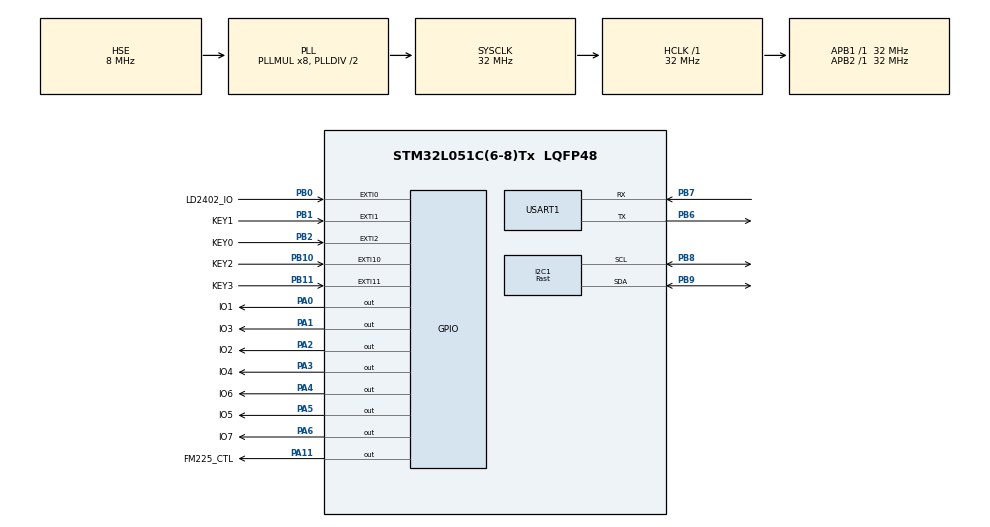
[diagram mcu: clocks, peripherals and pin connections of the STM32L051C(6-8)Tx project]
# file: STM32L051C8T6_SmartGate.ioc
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Dma.Request0=USART1_RX
Dma.Request1=USART1_TX
Dma.USART1_RX.0.Direction=DMA_PERIPH_TO_MEMORY
Dma.USART1_RX.0.Instance=DMA1_Channel3
Dma.USART1_RX.0.MemDataAlignment=DMA_MDATAALIGN_BYTE
Dma.USART1_RX.0.MemInc=DMA_MINC_ENABLE
Dma.USART1_RX.0.Mode=DMA_CIRCULAR
Dma.USART1_RX.0.PeriphDataAlignment=DMA_PDATAALIGN_BYTE
Dma.USART1_RX.0.PeriphInc=DMA_PINC_DISABLE
Dma.USART1_RX.0.Priority=DMA_PRIORITY_LOW
Dma.USART1_TX.1.Direction=DMA_MEMORY_TO_PERIPH
Dma.USART1_TX.1.Instance=DMA1_Channel2
Dma.USART1_TX.1.MemDataAlignment=DMA_MDATAALIGN_BYTE
Dma.USART1_TX.1.MemInc=DMA_MINC_ENABLE
Dma.USART1_TX.1.Mode=DMA_NORMAL
Dma.USART1_TX.1.PeriphDataAlignment=DMA_PDATAALIGN_BYTE
Dma.USART1_TX.1.PeriphInc=DMA_PINC_DISABLE
Dma.USART1_TX.1.Priority=DMA_PRIORITY_LOW
I2C1.I2C_Speed_Mode=I2C_Fast
I2C1.Timing=0x0060112F
Mcu.Family=STM32L0
Mcu.Name=STM32L051C(6-8)Tx
Mcu.Package=LQFP48
NVIC.DMA1_Channel2_3_IRQn=true\:0\:0\:false\:false\:true\:false\:true\:true
NVIC.EXTI0_1_IRQn=true\:0\:0\:false\:false\:true\:true\:true\:true
NVIC.EXTI2_3_IRQn=true\:0\:0\:false\:false\:true\:true\:true\:true
NVIC.EXTI4_15_IRQn=true\:0\:0\:false\:false\:true\:true\:true\:true
NVIC.TIM2_IRQn=true\:0\:0\:false\:false\:true\:true\:true\:true
NVIC.TIM6_DAC_IRQn=true\:0\:0\:true\:false\:true\:true\:true\:true
NVIC.USART1_IRQn=true\:0\:0\:false\:false\:true\:true\:true\:true
PA0.GPIO_Label=IO1
PA0.GPIO_ModeDefaultOutputPP=GPIO_MODE_OUTPUT_PP
PA0.GPIO_PuPd=GPIO_NOPULL
PA0.GPIO_Speed=GPIO_SPEED_FREQ_VERY_HIGH
PA0.PinState=GPIO_PIN_SET
PA0.Signal=GPIO_Output
PA1.GPIO_Label=IO3
PA1.GPIO_PuPd=GPIO_NOPULL
PA1.PinState=GPIO_PIN_SET
PA1.Signal=GPIO_Output
PA11.GPIO_Label=FM225_CTL
PA11.GPIO_PuPd=GPIO_PULLDOWN
PA11.PinState=GPIO_PIN_RESET
PA11.Signal=GPIO_Output
PA13.Mode=Serial_Wire
PA13.Signal=SYS_SWDIO
PA14.Mode=Serial_Wire
PA14.Signal=SYS_SWCLK
PA2.GPIO_Label=IO2
PA2.GPIO_PuPd=GPIO_NOPULL
PA2.PinState=GPIO_PIN_SET
PA2.Signal=GPIO_Output
PA3.GPIO_Label=IO4
PA3.GPIO_PuPd=GPIO_NOPULL
PA3.PinState=GPIO_PIN_SET
PA3.Signal=GPIO_Output
PA4.GPIO_Label=IO6
PA4.GPIO_ModeDefaultOutputPP=GPIO_MODE_OUTPUT_PP
PA4.GPIO_PuPd=GPIO_NOPULL
PA4.PinState=GPIO_PIN_SET
PA4.Signal=GPIO_Output
PA5.GPIO_Label=IO5
PA5.GPIO_PuPd=GPIO_NOPULL
PA5.PinState=GPIO_PIN_SET
PA5.Signal=GPIO_Output
PA6.GPIO_Label=IO7
PA6.GPIO_PuPd=GPIO_NOPULL
PA6.PinState=GPIO_PIN_SET
PA6.Signal=GPIO_Output
PB0.GPIO_Label=LD2402_IO
PB0.GPIO_ModeDefaultEXTI=GPIO_MODE_IT_FALLING
PB0.GPIO_PuPd=GPIO_PULLDOWN
PB0.Signal=GPXTI0
PB1.GPIO_Label=KEY1
PB1.GPIO_ModeDefaultEXTI=GPIO_MODE_IT_FALLING
PB1.GPIO_PuPd=GPIO_PULLUP
PB1.Signal=GPXTI1
PB10.GPIO_Label=KEY2
PB10.GPIO_ModeDefaultEXTI=GPIO_MODE_IT_FALLING
PB10.GPIO_PuPd=GPIO_PULLUP
PB10.Signal=GPXTI10
PB11.GPIO_Label=KEY3
PB11.GPIO_ModeDefaultEXTI=GPIO_MODE_IT_FALLING
PB11.GPIO_PuPd=GPIO_PULLUP
PB11.Signal=GPXTI11
PB2.GPIO_Label=KEY0
PB2.GPIO_ModeDefaultEXTI=GPIO_MODE_IT_FALLING
PB2.GPIO_PuPd=GPIO_PULLUP
PB2.Signal=GPXTI2
PB6.GPIO_PuPd=GPIO_PULLUP
PB6.Mode=Asynchronous
PB6.Signal=USART1_TX
PB7.GPIO_PuPd=GPIO_PULLUP
PB7.Mode=Asynchronous
PB7.Signal=USART1_RX
PB8.Mode=I2C
PB8.Signal=I2C1_SCL
PB9.Mode=I2C
PB9.Signal=I2C1_SDA
PC14-OSC32_IN.Mode=LSE-External-Oscillator
PC14-OSC32_IN.Signal=RCC_OSC32_IN
PC15-OSC32_OUT.Mode=LSE-External-Oscillator
PC15-OSC32_OUT.Signal=RCC_OSC32_OUT
PH0-OSC_IN.Mode=HSE-External-Oscillator
PH0-OSC_IN.Signal=RCC_OSC_IN
PH1-OSC_OUT.Mode=HSE-External-Oscillator
PH1-OSC_OUT.Signal=RCC_OSC_OUT
ProjectManager.HeapSize=0x200
ProjectManager.StackSize=0x400
ProjectManager.TargetToolchain=MDK-ARM V5.32
RCC.AHBFreq_Value=32000000
RCC.APB1Freq_Value=32000000
RCC.APB1TimFreq_Value=32000000
RCC.APB2Freq_Value=32000000
RCC.APB2TimFreq_Value=32000000
RCC.HCLKFreq_Value=32000000
RCC.HSE_VALUE=8000000
RCC.HSI16_VALUE=16000000
RCC.HSI_VALUE=16000000
RCC.MSI_VALUE=2097000
RCC.PLLMUL=RCC_PLLMUL_8
RCC.PLLSourceVirtual=RCC_PLLSOURCE_HSE
RCC.SYSCLKFreq_VALUE=32000000
RCC.SYSCLKSource=RCC_SYSCLKSOURCE_PLLCLK
RCC.VCOOutputFreq_Value=64000000
TIM2.AutoReloadPreload=TIM_AUTORELOAD_PRELOAD_DISABLE
TIM2.Period=30-1
TIM2.Prescaler=32000-1
TIM6.Period=50-1
TIM6.Prescaler=32000-1
USART1.VirtualMode-Asynchronous=VM_ASYNC
VP_TIM2_VS_ClockSourceINT.Mode=Internal
VP_TIM6_VS_ClockSourceINT.Mode=Enable_Timer
board=custom

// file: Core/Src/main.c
/* USER CODE BEGIN Header */
/**
  ******************************************************************************
  * @file           : main.c
  * @brief          : Main program body
  ******************************************************************************
  * @attention
  *
  * Copyright (c) 2025 STMicroelectronics.
  * All rights reserved.
  *
  * This software is licensed under terms that can be found in the LICENSE file
  * in the root directory of this software component.
  * If no LICENSE file comes with this software, it is provided AS-IS.
  *
  ******************************************************************************
  */
/* USER CODE END Header */
#include "main.h"
#include "dma.h"
#include "i2c.h"
#include "tim.h"
#include "usart.h"
#include "gpio.h"

/* USER CODE BEGIN Includes */
#include "oled.h"
#include <string.h>
/* USER CODE END Includes */

/* USER CODE BEGIN PD */

#define RX_BUFF_SIZE 128
#define TX_BUFF_SIZE 64

/* USER CODE END PD */

/* USER CODE BEGIN PV */

__IO uint8_t KEY0_PRESSED = 0;
__IO uint8_t KEY1_PRESSED = 0;
__IO uint8_t KEY2_PRESSED = 0;
__IO uint8_t KEY3_PRESSED = 0;
uint8_t ENROLL_ID = 1;
uint8_t DELETE_ID = 1;

uint8_t TX_BUFFER[TX_BUFF_SIZE] = { 0 };
__IO uint8_t RX_BUFFER[RX_BUFF_SIZE] = { 0 };

int menu_main();
int menu_enroll();
int menu_verify();
int menu_delete();
int (*menu)() = &menu_main;

/* USER CODE END PV */

void SystemClock_Config(void);

int main(void)
{

  /* MCU Configuration--------------------------------------------------------*/

  /* Reset of all peripherals, Initializes the Flash interface and the Systick. */
  HAL_Init();

  /* Configure the system clock */
  SystemClock_Config();

  /* Initialize all configured peripherals */
  MX_GPIO_Init();
  MX_DMA_Init();
  MX_I2C1_Init();
  MX_TIM2_Init();
  MX_USART1_UART_Init();
  MX_TIM6_Init();
  /* USER CODE BEGIN 2 */
	__HAL_UART_ENABLE_IT(&huart1, UART_IT_IDLE);  // 使能串口IDLE中断
	HAL_UARTEx_ReceiveToIdle_DMA(&huart1, (uint8_t *)RX_BUFFER, RX_BUFF_SIZE);
	HAL_TIM_Base_Start_IT(&htim2);
	HAL_TIM_Base_Start_IT(&htim6);
	OLED_Init();                           		 //OLED初始
	OLED_Clear();                        			 //清屏

  /* USER CODE END 2 */

  /* Infinite loop */
  /* USER CODE BEGIN WHILE */

  while (1)
  {
			if (KEY1_PRESSED == 1)
			{
					menu = menu_main;
			}
			if (KEY3_PRESSED == 1)
			{
					menu = menu_enroll;
			}
			if (KEY2_PRESSED == 1)
			{
					menu = menu_verify;
			}
			if (KEY0_PRESSED == 1)
			{
					menu = menu_delete;
			}
			if (menu != NULL)
			{
					KEY0_PRESSED = 0;
					KEY1_PRESSED = 0;
					KEY2_PRESSED = 0;
					KEY3_PRESSED = 0;
					menu();
			}
    /* USER CODE END WHILE */

  }
}

void SystemClock_Config(void)
{
  RCC_OscInitTypeDef RCC_OscInitStruct = {0};
  RCC_ClkInitTypeDef RCC_ClkInitStruct = {0};
  RCC_PeriphCLKInitTypeDef PeriphClkInit = {0};

  /** Configure the main internal regulator output voltage
  */
  __HAL_PWR_VOLTAGESCALING_CONFIG(PWR_REGULATOR_VOLTAGE_SCALE1);

  /** Initializes the RCC Oscillators according to the specified parameters
  * in the RCC_OscInitTypeDef structure.
  */
  RCC_OscInitStruct.OscillatorType = RCC_OSCILLATORTYPE_HSE;
  RCC_OscInitStruct.HSEState = RCC_HSE_ON;
  RCC_OscInitStruct.PLL.PLLState = RCC_PLL_ON;
  RCC_OscInitStruct.PLL.PLLSource = RCC_PLLSOURCE_HSE;
  RCC_OscInitStruct.PLL.PLLMUL = RCC_PLLMUL_8;
  RCC_OscInitStruct.PLL.PLLDIV = RCC_PLLDIV_2;
  if (HAL_RCC_OscConfig(&RCC_OscInitStruct) != HAL_OK)
  {
    Error_Handler();
  }

  /** Initializes the CPU, AHB and APB buses clocks
  */
  RCC_ClkInitStruct.ClockType = RCC_CLOCKTYPE_HCLK|RCC_CLOCKTYPE_SYSCLK
                              |RCC_CLOCKTYPE_PCLK1|RCC_CLOCKTYPE_PCLK2;
  RCC_ClkInitStruct.SYSCLKSource = RCC_SYSCLKSOURCE_PLLCLK;
  RCC_ClkInitStruct.AHBCLKDivider = RCC_SYSCLK_DIV1;
  RCC_ClkInitStruct.APB1CLKDivider = RCC_HCLK_DIV1;
  RCC_ClkInitStruct.APB2CLKDivider = RCC_HCLK_DIV1;

  if (HAL_RCC_ClockConfig(&RCC_ClkInitStruct, FLASH_LATENCY_1) != HAL_OK)
  {
    Error_Handler();
  }
  PeriphClkInit.PeriphClockSelection = RCC_PERIPHCLK_USART1|RCC_PERIPHCLK_I2C1;
  PeriphClkInit.Usart1ClockSelection = RCC_USART1CLKSOURCE_PCLK2;
  PeriphClkInit.I2c1ClockSelection = RCC_I2C1CLKSOURCE_PCLK1;
  if (HAL_RCCEx_PeriphCLKConfig(&PeriphClkInit) != HAL_OK)
  {
    Error_Handler();
  }
}

/* USER CODE BEGIN 4 */
// 计算 BCC 异或校验码的函数
uint8_t calculateBCC(uint8_t *data, int length)
{
    uint8_t bcc = 0;
    for (int i = 0; i < length; i++)
    {
        // 对每个字节进行异或操作
        bcc ^= data[i];
    }
    return bcc;
}

int menu_main()
{
    menu = NULL;
    OLED_Clear();
    OLED_ShowCHinese(24, 0, 8, 0);
    OLED_ShowCHinese(40, 0, 9, 0);
    OLED_ShowCHinese(56, 0, 10, 0);
    OLED_ShowCHinese(72, 0, 11, 0);
    OLED_ShowCHinese(88, 0, 12, 0);

    OLED_ShowCHinese(32, 2, 0, 0);
    OLED_ShowCHinese(48, 2, 1, 0);
    OLED_ShowCHinese(64, 2, 6, 0);
    OLED_ShowCHinese(80, 2, 7, 0);

    OLED_ShowCHinese(32, 4, 4, 0);
    OLED_ShowCHinese(48, 4, 5, 0);
    OLED_ShowCHinese(64, 4, 6, 0);
    OLED_ShowCHinese(80, 4, 7, 0);

    OLED_ShowCHinese(32, 6, 2, 0);
    OLED_ShowCHinese(48, 6, 3, 0);
    OLED_ShowCHinese(64, 6, 6, 0);
    OLED_ShowCHinese(80, 6, 7, 0);
    return 0;
}

int menu_enroll()
{
    OLED_Clear();
    OLED_ShowCHinese(0, 0, 13, 0);
    OLED_ShowCHinese(16, 0, 14, 0);
    OLED_ShowCHinese(32, 0, 15, 0);
    OLED_ShowCHinese(48, 0, 16, 0);

    OLED_ShowCHinese(64, 0, 0, 0);
    OLED_ShowCHinese(80, 0, 1, 0);
    OLED_ShowCHinese(96, 0, 6, 0);
    OLED_ShowCHinese(112, 0, 7, 0);

    OLED_ShowCHinese(32, 2, 17, 0);
    OLED_ShowCHinese(48, 2, 18, 0);
    OLED_ShowCHinese(64, 2, 19, 0);
    OLED_ShowNum(80, 2, ENROLL_ID, 2, 16, 0);
    HAL_GPIO_WritePin(FM225_CTL_GPIO_Port, FM225_CTL_Pin, GPIO_PIN_SET);

    while (1)
    {
        if (KEY3_PRESSED == 1)
        {
            KEY3_PRESSED = 0;

            OLED_Clear();
            OLED_ShowCHinese(40, 0, 0, 0);
            OLED_ShowCHinese(56, 0, 1, 0);
            OLED_ShowCHinese(72, 0, 24, 0);

            OLED_ShowCHinese(24, 2, 8, 0);
            OLED_ShowCHinese(40, 2, 20, 0);
            OLED_ShowCHinese(56, 2, 21, 0);
            OLED_ShowCHinese(72, 2, 22, 0);
            OLED_ShowCHinese(88, 2, 23, 0);

            uint8_t values[] = { 0xef, 0xaa, 0x1d, 0x00, 0x23, 0x00, 0x00, 0x00,
                    0x00, 0x00, 0x00, 0x00, 0x00, 0x00, 0x00, 0x00, 0x00, 0x00,
                    0x00, 0x00, 0x00, 0x00, 0x00, 0x00, 0x00, 0x00, 0x00, 0x00,
                    0x00, 0x00, 0x00, 0x00, 0x00, 0x00, 0x00, 0x00, 0x00, 0x00,
                    0x00, 0x00, 0x3e };

            // 赋值操作
            for (int i = 0; i < 41; i++)
            {
                TX_BUFFER[i] = values[i];
            }

            TX_BUFFER[6] = ENROLL_ID;

            // 调用函数计算 BCC 校验码
            TX_BUFFER[40] = calculateBCC(&TX_BUFFER[2], 38);
            HAL_UART_Transmit_DMA(&huart1, (uint8_t *)TX_BUFFER, 41);
            HAL_UARTEx_ReceiveToIdle_DMA(&huart1, (uint8_t *)RX_BUFFER, RX_BUFF_SIZE);
            while (1)
            {
                if ((RX_BUFFER[2] == 0X00) && (RX_BUFFER[5] == 0X1D)&& (RX_BUFFER[6] == 0X0A))
                {
                    // 播放人脸已录入语音
										HAL_GPIO_WritePin(IO3_GPIO_Port, IO3_Pin, GPIO_PIN_RESET);
										__HAL_TIM_SET_COUNTER(&htim6, 0);
										HAL_TIM_Base_Start_IT(&htim6);

										// 关闭FM225的电源
										HAL_GPIO_WritePin(FM225_CTL_GPIO_Port, FM225_CTL_Pin, GPIO_PIN_RESET);
                    OLED_Clear();
										OLED_ShowCHinese(24, 0, 6, 0); // OLED显示’人‘
                    OLED_ShowCHinese(40, 0, 7, 0);	// OLED显示’脸‘
                    OLED_ShowCHinese(56, 0, 29, 0);	// OLED显示’已‘
                    OLED_ShowCHinese(72, 0, 30, 0);	// OLED显示’录‘
                    OLED_ShowCHinese(88, 0, 31, 0);// OLED显示’入‘

                    while (1)
                    {
                        if (KEY3_PRESSED == 1)
                        {
                            KEY3_PRESSED = 0;
                        }
                        if (KEY2_PRESSED == 1)
                        {
                            KEY2_PRESSED = 0;
                        }

                        if (KEY0_PRESSED == 1)
                        {
                            KEY0_PRESSED = 0;
                        }
                        if (KEY1_PRESSED == 1)
                        {
                            KEY1_PRESSED = 0;
														HAL_GPIO_WritePin(FM225_CTL_GPIO_Port, FM225_CTL_Pin, GPIO_PIN_RESET);
														menu = menu_main;
														return 0;
                        }
                    }
                }
                else if ((RX_BUFFER[2] == 0X00) && (RX_BUFFER[5] == 0X1D) && (RX_BUFFER[6] == 0X00) && (RX_BUFFER[8] != 0X00))
                {
										// 播放录入成功语音
										HAL_GPIO_WritePin(IO1_GPIO_Port, IO1_Pin, GPIO_PIN_RESET);
										__HAL_TIM_SET_COUNTER(&htim6, 0);
										HAL_TIM_Base_Start_IT(&htim6);

										// 关闭FM225的电源
										HAL_GPIO_WritePin(FM225_CTL_GPIO_Port, FM225_CTL_Pin, GPIO_PIN_RESET);
										OLED_Clear();
                    OLED_ShowCHinese(32, 0, 30, 0);
                    OLED_ShowCHinese(48, 0, 31, 0);
                    OLED_ShowCHinese(64, 0, 25, 0);
                    OLED_ShowCHinese(80, 0, 26, 0);

                    while (1)
                    {
                        if (KEY3_PRESSED == 1)
                        {
                            KEY3_PRESSED = 0;
                        }
                        if (KEY2_PRESSED == 1)
                        {
                            KEY2_PRESSED = 0;
                        }

                        if (KEY0_PRESSED == 1)
                        {
                            KEY0_PRESSED = 0;
                        }
                        if (KEY1_PRESSED == 1)
                        {
                            KEY1_PRESSED = 0;
														HAL_GPIO_WritePin(FM225_CTL_GPIO_Port, FM225_CTL_Pin, GPIO_PIN_RESET);
														menu = menu_main;
                            return 0;
                        }
                    }
                }
                else if ((RX_BUFFER[2] == 0X00) && (RX_BUFFER[5] == 0X1D)&& (RX_BUFFER[6] == 0X0D))
                {
                    // 播放录入失败语音
										HAL_GPIO_WritePin(IO2_GPIO_Port, IO2_Pin, GPIO_PIN_RESET);
										__HAL_TIM_SET_COUNTER(&htim6, 0);
										HAL_TIM_Base_Start_IT(&htim6);

										// 关闭FM225的电源
										HAL_GPIO_WritePin(FM225_CTL_GPIO_Port, FM225_CTL_Pin, GPIO_PIN_RESET);
                    OLED_Clear();
                    OLED_ShowCHinese(32, 0, 30, 0);
                    OLED_ShowCHinese(48, 0, 31, 0);
                    OLED_ShowCHinese(64, 0, 27, 0);
                    OLED_ShowCHinese(80, 0, 28, 0);

                    while (1)
                    {
                        if (KEY3_PRESSED == 1)
                        {
                            KEY3_PRESSED = 0;
                        }
                        if (KEY2_PRESSED == 1)
                        {
                            KEY2_PRESSED = 0;
                        }

                        if (KEY0_PRESSED == 1)
                        {
                            KEY0_PRESSED = 0;
                        }
                        if (KEY1_PRESSED == 1)
                        {
                            KEY1_PRESSED = 0;
														HAL_GPIO_WritePin(FM225_CTL_GPIO_Port, FM225_CTL_Pin, GPIO_PIN_RESET);
														menu = menu_main;
                            return 0;
                        }
                    }
                }
                if (KEY2_PRESSED == 1)
                {
                    KEY2_PRESSED = 0;
                }
                if (KEY3_PRESSED == 1)
                {
                    KEY3_PRESSED = 0;
                }
                if (KEY0_PRESSED == 1)
                {
                    KEY0_PRESSED = 0;
                }
                if (KEY1_PRESSED == 1)
                {
										KEY1_PRESSED = 0;
										HAL_GPIO_WritePin(FM225_CTL_GPIO_Port, FM225_CTL_Pin, GPIO_PIN_RESET);
										menu = menu_main;
										return 0;
                }
            }
        }
        if (KEY2_PRESSED == 1)
        {
            KEY2_PRESSED = 0;
            if (ENROLL_ID < 99)
            {
                ENROLL_ID++;
                OLED_ShowNum(80, 2, ENROLL_ID, 2, 16, 0);
            }

        }
        if (KEY0_PRESSED == 1)
        {
            KEY0_PRESSED = 0;
            if (ENROLL_ID > 1)
            {
                ENROLL_ID--;
                OLED_ShowNum(80, 2, ENROLL_ID, 2, 16, 0);
            }
        }
        if (KEY1_PRESSED == 1)
        {

            KEY1_PRESSED = 0;
						HAL_GPIO_WritePin(FM225_CTL_GPIO_Port, FM225_CTL_Pin, GPIO_PIN_RESET);
            menu = menu_main;
            return 0;
        }
    }

}
int menu_verify()
{
    while (1)
    {
        HAL_GPIO_WritePin(FM225_CTL_GPIO_Port, FM225_CTL_Pin, GPIO_PIN_SET);
        OLED_Clear();
        OLED_ShowCHinese(24, 0, 8, 0);
        OLED_ShowCHinese(40, 0, 20, 0);
        OLED_ShowCHinese(56, 0, 21, 0);
        OLED_ShowCHinese(72, 0, 22, 0);
        OLED_ShowCHinese(88, 0, 23, 0);
				HAL_Delay(10);
        // 赋值操作
        TX_BUFFER[0] = 0XEF;
        TX_BUFFER[1] = 0XAA;
        TX_BUFFER[2] = 0X12;
        TX_BUFFER[3] = 0X00;
        TX_BUFFER[4] = 0X02;
        TX_BUFFER[5] = 0X01;
        TX_BUFFER[6] = 0X10;
        TX_BUFFER[7] = 0X01;
        HAL_UART_Transmit_DMA(&huart1, TX_BUFFER, 8);
        HAL_UARTEx_ReceiveToIdle_DMA(&huart1, (uint8_t *)RX_BUFFER, RX_BUFF_SIZE);
        while (1)
        {
            if (RX_BUFFER[2] == 0X00 && RX_BUFFER[5] == 0X12 && RX_BUFFER[6] == 0X00 && RX_BUFFER[8] != 0X00)
            {
								// 播放验证成功语音
								HAL_GPIO_WritePin(IO5_GPIO_Port, IO5_Pin, GPIO_PIN_RESET);
								__HAL_TIM_SET_COUNTER(&htim6, 0);
								HAL_TIM_Base_Start_IT(&htim6);

								uint8_t id = RX_BUFFER[8];
								OLED_ShowNum(72, 2, RX_BUFFER[8], 2, 16, 0);
                HAL_GPIO_WritePin(IO6_GPIO_Port, IO6_Pin, GPIO_PIN_RESET);
								HAL_GPIO_WritePin(FM225_CTL_GPIO_Port, FM225_CTL_Pin, GPIO_PIN_RESET);
                OLED_Clear();
                OLED_ShowCHinese(32, 0, 4, 0);
                OLED_ShowCHinese(48, 0, 5, 0);
                OLED_ShowCHinese(64, 0, 25, 0);
                OLED_ShowCHinese(80, 0, 26, 0);

                OLED_ShowCHinese(24, 2, 39, 0);
                OLED_ShowCHinese(40, 2, 40, 0);
                OLED_ShowCHinese(56, 2, 41, 0);
                OLED_ShowNum(72, 2, id, 2, 16, 0);
                OLED_ShowCHinese(88, 2, 42, 0);

            }
            if (RX_BUFFER[2] == 0X00 && RX_BUFFER[5] == 0X12 && RX_BUFFER[6] == 0X0D)
            {
								// 播放验证失败语音
								HAL_GPIO_WritePin(IO6_GPIO_Port, IO6_Pin, GPIO_PIN_RESET);
								__HAL_TIM_SET_COUNTER(&htim6, 0);
								HAL_TIM_Base_Start_IT(&htim6);

                HAL_GPIO_WritePin(IO7_GPIO_Port, IO7_Pin, GPIO_PIN_RESET);
								HAL_GPIO_WritePin(FM225_CTL_GPIO_Port, FM225_CTL_Pin, GPIO_PIN_RESET);
                OLED_Clear();
                OLED_ShowCHinese(32, 0, 4, 0);
                OLED_ShowCHinese(48, 0, 5, 0);
                OLED_ShowCHinese(64, 0, 27, 0);
                OLED_ShowCHinese(80, 0, 28, 0);

            }
            if (KEY2_PRESSED == 1)
            {
                KEY2_PRESSED = 0;
            }

            if (KEY0_PRESSED == 1)
            {
                KEY0_PRESSED = 0;
            }
            if (KEY3_PRESSED == 1)
            {
                KEY3_PRESSED = 0;
            }
            if (KEY1_PRESSED == 1)
            {
								KEY1_PRESSED = 0;
								HAL_GPIO_WritePin(FM225_CTL_GPIO_Port, FM225_CTL_Pin, GPIO_PIN_RESET);
								menu = menu_main;
								return 0;
            }
        }
    }
}
int menu_delete()
{

    OLED_Clear();
    OLED_ShowCHinese(0, 0, 13, 0);
    OLED_ShowCHinese(16, 0, 14, 0);
    OLED_ShowCHinese(32, 0, 15, 0);
    OLED_ShowCHinese(48, 0, 16, 0);

    OLED_ShowCHinese(64, 0, 2, 0);
    OLED_ShowCHinese(80, 0, 3, 0);
    OLED_ShowCHinese(96, 0, 6, 0);
    OLED_ShowCHinese(112, 0, 7, 0);

    OLED_ShowCHinese(24, 2, 39, 0);
    OLED_ShowCHinese(40, 2, 40, 0);
    OLED_ShowCHinese(56, 2, 41, 0);
    OLED_ShowNum(72, 2, DELETE_ID, 2, 16, 0);
    OLED_ShowCHinese(88, 2, 42, 0);
    HAL_GPIO_WritePin(FM225_CTL_GPIO_Port, FM225_CTL_Pin, GPIO_PIN_SET);

    while (1)
    {
        if (KEY0_PRESSED == 1)
        {
            KEY0_PRESSED = 0;
						// 播放删除成功语音
						HAL_GPIO_WritePin(IO7_GPIO_Port, IO7_Pin, GPIO_PIN_RESET);
						__HAL_TIM_SET_COUNTER(&htim6, 0);
						HAL_TIM_Base_Start_IT(&htim6);

            if (DELETE_ID == 0)
            {
                OLED_Clear();
                OLED_ShowCHinese(16, 0, 37, 0);
                OLED_ShowCHinese(32, 0, 38, 0);
                OLED_ShowCHinese(48, 0, 2, 0);
                OLED_ShowCHinese(64, 0, 3, 0);
                OLED_ShowCHinese(80, 0, 25, 0);
                OLED_ShowCHinese(96, 0, 26, 0);

                TX_BUFFER[0] = 0XEF;
                TX_BUFFER[1] = 0XAA;
                TX_BUFFER[2] = 0X21;
                TX_BUFFER[3] = 0X00;
                TX_BUFFER[4] = 0X00;
                TX_BUFFER[5] = 0X21;

                HAL_UART_Transmit_DMA(&huart1, TX_BUFFER, 6);
                HAL_UARTEx_ReceiveToIdle_DMA(&huart1, (uint8_t *)RX_BUFFER,RX_BUFF_SIZE); // 继续接收数据

            } else
            {
                OLED_Clear();
                OLED_ShowCHinese(32, 0, 2, 0);
                OLED_ShowCHinese(48, 0, 3, 0);
                OLED_ShowCHinese(64, 0, 25, 0);
                OLED_ShowCHinese(80, 0, 26, 0);

                TX_BUFFER[0] = 0XEF;
                TX_BUFFER[1] = 0XAA;
                TX_BUFFER[2] = 0X20;
                TX_BUFFER[3] = 0X00;
                TX_BUFFER[4] = 0X02;
                TX_BUFFER[5] = 0X00;
                TX_BUFFER[6] = DELETE_ID;

                // 调用函数计算 BCC 校验码
                TX_BUFFER[7] = calculateBCC(&TX_BUFFER[2], 5);
                HAL_UART_Transmit_DMA(&huart1, TX_BUFFER, 8);
                HAL_UARTEx_ReceiveToIdle_DMA(&huart1, (uint8_t *)RX_BUFFER,RX_BUFF_SIZE); // 继续接收数据
            }
            while (1)
            {

								if (RX_BUFFER[2] == 0X00 && RX_BUFFER[5] == 0X20 && RX_BUFFER[6] == 0X00)
								{
										HAL_GPIO_WritePin(FM225_CTL_GPIO_Port, FM225_CTL_Pin, GPIO_PIN_RESET);
								}

								if (RX_BUFFER[2] == 0X00 && RX_BUFFER[5] == 0X21 && RX_BUFFER[6] == 0X00)
								{
										HAL_GPIO_WritePin(FM225_CTL_GPIO_Port, FM225_CTL_Pin, GPIO_PIN_RESET);
								}

                if (KEY3_PRESSED == 1)
                {
                    KEY3_PRESSED = 0;
                }

                if (KEY2_PRESSED == 1)
                {
                    KEY2_PRESSED = 0;
                }

                if (KEY0_PRESSED == 1)
                {
                    KEY0_PRESSED = 0;
                }
                if (KEY1_PRESSED == 1)
                {
                    KEY1_PRESSED = 0;
										HAL_GPIO_WritePin(FM225_CTL_GPIO_Port, FM225_CTL_Pin, GPIO_PIN_RESET);
                    menu = menu_main;
										return 0;
                }
            }
        }
        if (KEY3_PRESSED == 1)
        {
            KEY3_PRESSED = 0;
            if (DELETE_ID < 99)
            {
                DELETE_ID++;
                OLED_ShowNum(72, 2, DELETE_ID, 2, 16, 0);
            }
        }
        if (KEY2_PRESSED == 1)
        {
            KEY2_PRESSED = 0;
            if (DELETE_ID > 0)
            {
                DELETE_ID--;
                OLED_ShowNum(72, 2, DELETE_ID, 2, 16, 0);
            }

        }
        if (KEY1_PRESSED == 1)
        {
            KEY1_PRESSED = 0;
						HAL_GPIO_WritePin(FM225_CTL_GPIO_Port, FM225_CTL_Pin, GPIO_PIN_RESET);
            menu = menu_main;
            return 0;
        }
    }
}

/* 定时器中断回调函数 */
void HAL_TIM_PeriodElapsedCallback(TIM_HandleTypeDef *htim)
{
  if (htim->Instance == TIM2) {
    /* 停止定时器 */
    HAL_TIM_Base_Stop_IT(&htim2);

    /* 读取按键状态 */
    if (HAL_GPIO_ReadPin(KEY0_GPIO_Port, KEY0_Pin) == GPIO_PIN_RESET) {
      KEY0_PRESSED = 1;
    }
		if (HAL_GPIO_ReadPin(KEY1_GPIO_Port, KEY1_Pin) == GPIO_PIN_RESET) {
      KEY1_PRESSED = 1;
    }
		if (HAL_GPIO_ReadPin(KEY2_GPIO_Port, KEY2_Pin) == GPIO_PIN_RESET) {
      KEY2_PRESSED = 1;
    }
		if (HAL_GPIO_ReadPin(KEY3_GPIO_Port, KEY3_Pin) == GPIO_PIN_RESET) {
      KEY3_PRESSED = 1;
    }
  }
	if (htim->Instance == TIM6) {
		/* 停止定时器 */
    HAL_TIM_Base_Stop_IT(&htim6);

		/* 复位按键状态：高电平 */
		HAL_GPIO_WritePin(IO1_GPIO_Port, IO1_Pin, GPIO_PIN_SET);
		HAL_GPIO_WritePin(IO2_GPIO_Port, IO2_Pin, GPIO_PIN_SET);
		HAL_GPIO_WritePin(IO3_GPIO_Port, IO3_Pin, GPIO_PIN_SET);
		HAL_GPIO_WritePin(IO4_GPIO_Port, IO4_Pin, GPIO_PIN_SET);
		HAL_GPIO_WritePin(IO5_GPIO_Port, IO5_Pin, GPIO_PIN_SET);
		HAL_GPIO_WritePin(IO6_GPIO_Port, IO6_Pin, GPIO_PIN_SET);
		HAL_GPIO_WritePin(IO7_GPIO_Port, IO7_Pin, GPIO_PIN_SET);
	}
}
// 外部中断回调函数
void HAL_GPIO_EXTI_Callback(uint16_t GPIO_Pin)
{
    // 检查是否为有效按键引脚
    if (GPIO_Pin == KEY0_Pin ||
        GPIO_Pin == KEY1_Pin ||
        GPIO_Pin == KEY2_Pin ||
        GPIO_Pin == KEY3_Pin)
    {
        // 清除定时器计数并启动定时器
        __HAL_TIM_SET_COUNTER(&htim2, 0);
        HAL_TIM_Base_Start_IT(&htim2);
    }

    if (GPIO_Pin == LD2402_IO_Pin
            && HAL_GPIO_ReadPin(LD2402_IO_GPIO_Port, LD2402_IO_Pin) == 0)
    {

        HAL_GPIO_WritePin(FM225_CTL_GPIO_Port, FM225_CTL_Pin, GPIO_PIN_RESET);
        OLED_Clear();
        GPIO_InitTypeDef GPIO_InitStruct = { 0 };
        GPIO_InitStruct.Pin = LD2402_IO_Pin;
        GPIO_InitStruct.Mode = GPIO_MODE_IT_RISING;
        GPIO_InitStruct.Pull = GPIO_PULLDOWN;
        HAL_GPIO_Init(LD2402_IO_GPIO_Port, &GPIO_InitStruct);
    }
    if (GPIO_Pin == LD2402_IO_Pin
            && HAL_GPIO_ReadPin(LD2402_IO_GPIO_Port, LD2402_IO_Pin) == 1)
    {
        menu = menu_main;
        HAL_GPIO_WritePin(FM225_CTL_GPIO_Port, FM225_CTL_Pin, GPIO_PIN_SET);
        GPIO_InitTypeDef GPIO_InitStruct = { 0 };
        GPIO_InitStruct.Pin = LD2402_IO_Pin;
        GPIO_InitStruct.Mode = GPIO_MODE_IT_FALLING;
        GPIO_InitStruct.Pull = GPIO_PULLDOWN;
        HAL_GPIO_Init(LD2402_IO_GPIO_Port, &GPIO_InitStruct);
    }

}

void HAL_UARTEx_RxEventCallback(UART_HandleTypeDef *huart, uint16_t Size)
{
    if (huart->Instance == USART1)
    {
				memset((uint8_t *)RX_BUFFER, 0X00, sizeof(RX_BUFFER));
        HAL_UART_DMAStop(&huart1);  // 停止DMA传输
        HAL_UARTEx_ReceiveToIdle_DMA(&huart1, (uint8_t *)RX_BUFFER, RX_BUFF_SIZE); // 继续接收数据
    }
}

/* USER CODE END 4 */

void Error_Handler(void)
{
  __disable_irq();
  while (1)
  {
  }
}
